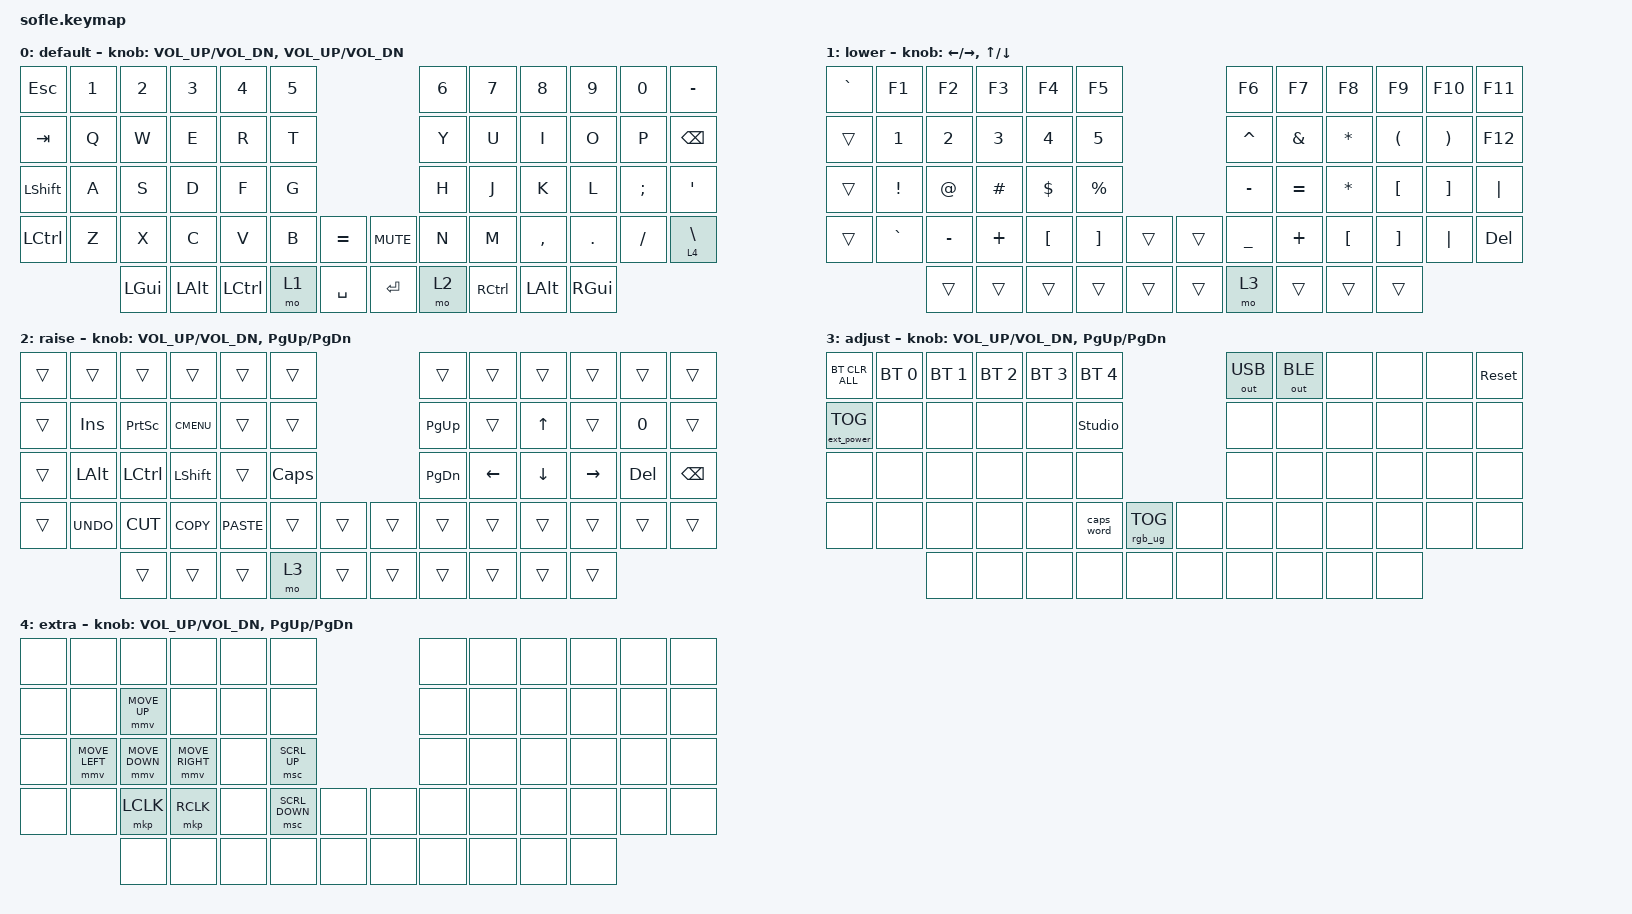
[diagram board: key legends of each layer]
/*
 * Copyright (c) 2020 The ZMK Contributors
 *
 * SPDX-License-Identifier: MIT
 */

#include <behaviors.dtsi>
#include <dt-bindings/zmk/bt.h>
#include <dt-bindings/zmk/ext_power.h>
#include <dt-bindings/zmk/keys.h>
#include <dt-bindings/zmk/pointing.h>
#include <dt-bindings/zmk/rgb.h>
#include <dt-bindings/zmk/outputs.h>

/*
 * RGB LED data is relocated to pro micro D0 (nice!nano P0.08), freeing
 * D1 (P0.06) for the nice!view CS pin. This must live in the keymap, not
 * config/sofle.overlay: the keymap is applied after the stock sofle
 * nice_nano_v2 overlay (which sets P0.06), so these values win.
 */
&pinctrl {
    spi3_default: spi3_default {
        group1 {
            psels = <NRF_PSEL(SPIM_MOSI, 0, 8)>;
        };
    };

    spi3_sleep: spi3_sleep {
        group1 {
            psels = <NRF_PSEL(SPIM_MOSI, 0, 8)>;
            low-power-enable;
        };
    };
};

&led_strip {
    chain-length = <30>;
};


/*
// Encoders

&sensors { triggers-per-rotation = <30>; };

&left_encoder { steps = <60>; };

&right_encoder { steps = <60>; };
*/

#define BASE 0
#define LOWER 1
#define RAISE 2
#define ADJUST 3
#define EXTRA 4

/ {


    combos {
        compatible = "zmk,combos";

        backspace {
            bindings = <&kp BACKSPACE>;
            key-positions = <32 31>;
        };


        esc {
            bindings = <&kp ESCAPE>;
            key-positions = <25 41>;
        };
    };



    keymap {
        compatible = "zmk,keymap";

        // swap C_MUTE & EQUAL for encoder on the right

        default_layer {
            display-name = "default";

            // ------------------------------------------------------------------------------------------------------------
            // |   `   |  1  |  2  |  3   |  4   |  5   |                   |  6   |  7    |  8    |  9   |   0   |       |
            // |  ESC  |  Q  |  W  |  E   |  R   |  T   |                   |  Y   |  U    |  I    |  O   |   P   | BKSPC |
            // |  TAB  |  A  |  S  |  D   |  F   |  G   |                   |  H   |  J    |  K    |  L   |   ;   |   '   |
            // | SHIFT |  Z  |  X  |  C   |  V   |  B   |  MUTE  |  |       |  N   |  M    |  ,    |  .   |   /   | SHIFT |
            //               | GUI | ALT  | CTRL | LOWER|  ENTER |  | SPACE | RAISE| CTRL  | ALT   | GUI  |

            bindings = <
&kp ESC           &kp N1  &kp N2    &kp N3    &kp N4     &kp N5                              &kp N6     &kp N7     &kp N8     &kp N9    &kp N0    &kp MINUS
&kp TAB           &kp Q   &kp W     &kp E     &kp R      &kp T                               &kp Y      &kp U      &kp I      &kp O     &kp P     &kp BSPC
&kp LEFT_SHIFT    &kp A   &kp S     &kp D     &kp F      &kp G                               &kp H      &kp J      &kp K      &kp L     &kp SEMI  &kp SQT
&kp LEFT_CONTROL  &kp Z   &kp X     &kp C     &kp V      &kp B      &kp EQUAL    &kp C_MUTE  &kp N      &kp M      &kp COMMA  &kp DOT   &kp FSLH  &lt 4 BSLH
                          &kp LGUI  &kp LALT  &kp LCTRL  &mo 1  &kp SPACE     &kp ENTER  &mo 2  &kp RCTRL  &kp LALT   &kp RGUI
            >;

            sensor-bindings = <&inc_dec_kp C_VOL_UP C_VOL_DN &inc_dec_kp C_VOL_UP C_VOL_DN>;
        };

        lower_layer {
            display-name = "lower";

            // TODO: Some binds are waiting for shifted keycode support.
            // ------------------------------------------------------------------------------------------------------------
            // |       |  F1 |  F2 |  F3  |  F4  |  F5  |                   |  F6  |  F7   |  F8   |  F9  |  F10  |  F11  |
            // |   `   |  1  |  2  |  3   |  4   |  5   |                   |  6   |  7    |  8    |  9   |   0   |  F12  |
            // |       |  !  |  @  |  #   |  $   |  %   |                   |  ^   |  &    |  *    |  (   |   )   |   |   |
            // |       |  =  |  -  |  +   |  {   |  }   |        |  |       |  [   |  ]    |  ;    |  :   |   \   |       |
            //               |     |      |      |      |        |  |       |      |       |       |      |

            bindings = <
&kp GRAVE  &kp F1     &kp F2     &kp F3    &kp F4    &kp F5                       &kp F6          &kp F7         &kp F8          &kp F9                &kp F10                &kp F11
&trans  &kp N1     &kp N2     &kp N3    &kp N4    &kp N5                       &kp CARET       &kp AMPERSAND  &kp ASTRK       &kp LEFT_PARENTHESIS  &kp RIGHT_PARENTHESIS  &kp F12
&trans  &kp EXCL   &kp AT     &kp HASH  &kp DLLR  &kp PRCNT                    &kp MINUS       &kp EQUAL      &kp ASTRK       &kp LEFT_BRACKET      &kp RIGHT_BRACKET      &kp PIPE
&trans  &kp GRAVE  &kp MINUS  &kp PLUS  &kp LBKT  &kp RBKT   &trans    &trans  &kp UNDERSCORE  &kp PLUS       &kp LBKT  &kp RBKT       &kp PIPE               &kp DELETE
                   &trans     &trans    &trans    &trans     &trans    &trans  &mo 3          &trans         &trans          &trans
            >;

            sensor-bindings =
                <&inc_dec_kp LEFT_ARROW RIGHT_ARROW>,
                <&inc_dec_kp UP_ARROW DOWN_ARROW>;
        };

        raise_layer {
            display-name = "raise";

            // ------------------------------------------------------------------------------------------------------------
            // | BTCLR | BT1  | BT2  |  BT3  |  BT4  |  BT5 |                |      |      |       |      |       |       |
            // |       | INS  | PSCR | GUI   |       |      |                | PGUP |      |   ^   |      |       |       |
            // |       | ALT  | CTRL | SHIFT |       | CAPS |                | PGDN |   <- |   v   |  ->  |  DEL  | BKSPC |
            // |       | UNDO | CUT  | COPY  | PASTE |      |      |  |      |      |      |       |      |       |       |
            //                |      |       |       |      |      |  |      |      |      |       |      |

            bindings = <
&trans  &trans      &trans     &trans       &trans       &trans                      &trans     &trans    &trans    &trans     &trans   &trans
&trans  &kp INS     &kp PSCRN  &kp K_CMENU  &trans       &trans                      &kp PG_UP  &trans    &kp UP    &trans     &kp N0   &trans
&trans  &kp LALT    &kp LCTRL  &kp LSHFT    &trans       &kp CLCK                    &kp PG_DN  &kp LEFT  &kp DOWN  &kp RIGHT  &kp DEL  &kp BSPC
&trans  &kp K_UNDO  &kp K_CUT  &kp K_COPY   &kp K_PASTE  &trans    &trans    &trans  &trans     &trans    &trans    &trans     &trans   &trans
                    &trans     &trans       &trans       &mo 3    &trans    &trans  &trans     &trans    &trans    &trans
            >;

            sensor-bindings = <&inc_dec_kp C_VOL_UP C_VOL_DN &inc_dec_kp PG_UP PG_DN>;
        };

        adjust_layer {
            // ----------------------------------------------------------------------------------------------------------------------------
            // | BTCLR  |  BT1    |  BT2    |   BT3   |   BT4   |   BT5   |                  |      |      |       |      |       |       |
            // | EXTPWR |         |         |         |         | UNLOCK  |                  |      |      |       |      |       |       |
            // |        |         |         |         |         |         |                  |      |      |       |      |       |       |
            // |        |         |         |         |         | CAPSWRD | RGB_TOG | |      |      |      |       |      |       |       |
            //                    |         |         |         |         |         | |      |      |      |       |      |

            display-name = "adjust";
            bindings = <
&bt BT_CLR_ALL     &bt BT_SEL 0  &bt BT_SEL 1  &bt BT_SEL 2  &bt BT_SEL 3  &bt BT_SEL 4                    &out OUT_USB  &out OUT_BLE  &none  &none  &none  &sys_reset
&ext_power EP_TOG  &none         &none         &none         &none         &studio_unlock                  &none  &none  &none  &none  &none  &none
&none              &none         &none         &none         &none         &none                           &none  &none  &none  &none  &none  &none
&none              &none         &none         &none         &none         &caps_word      &rgb_ug RGB_TOG  &none  &none  &none  &none  &none  &none  &none
                                 &none         &none         &none         &none           &none    &none  &none  &none  &none  &none
            >;

            sensor-bindings = <&inc_dec_kp C_VOL_UP C_VOL_DN &inc_dec_kp PG_UP PG_DN>;
        };
        extra_layer {


            display-name = "extra";
            bindings = <
&none     &none  &none  &none  &none  &none                    &none  &none  &none  &none  &none  &none
&none  &none         &mmv MOVE_UP         &none         &none         &none                  &none  &none  &none  &none  &none  &none
&none              &mmv MOVE_LEFT &mmv MOVE_DOWN &mmv MOVE_RIGHT         &none         &msc SCRL_UP                           &none  &none  &none  &none  &none  &none
&none              &none         &mkp LCLK         &mkp RCLK         &none         &msc SCRL_DOWN      &none    &none  &none  &none  &none  &none  &none  &none
                                 &none         &none         &none         &none           &none    &none  &none  &none  &none  &none
            >;

            sensor-bindings = <&inc_dec_kp C_VOL_UP C_VOL_DN &inc_dec_kp PG_UP PG_DN>;
        };
    };
};
